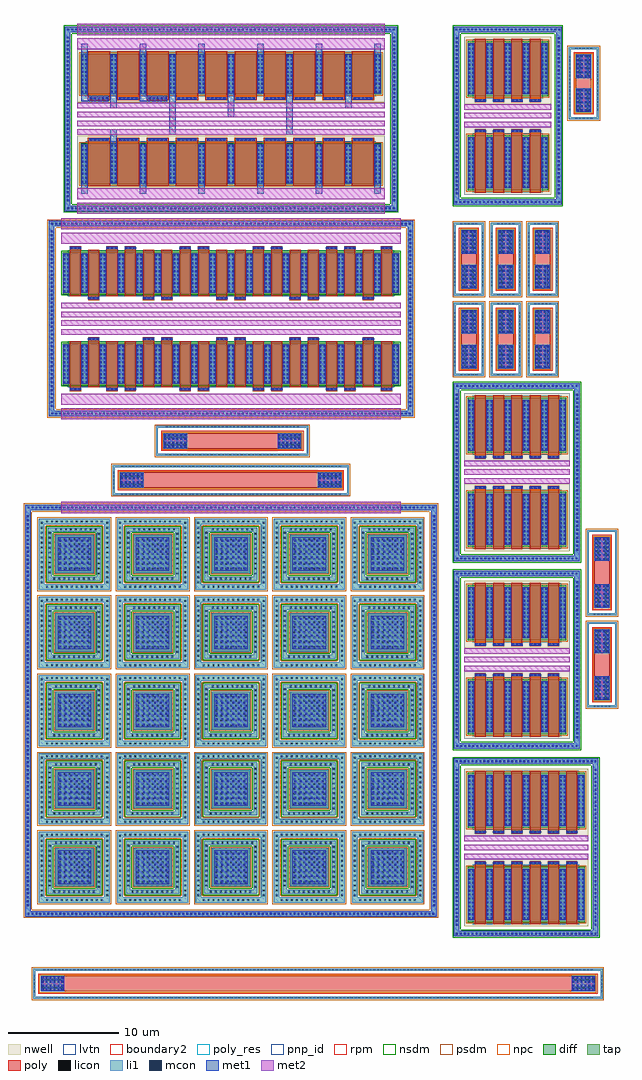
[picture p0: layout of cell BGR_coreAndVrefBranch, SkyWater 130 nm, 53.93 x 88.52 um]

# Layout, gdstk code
from math import pi, radians
import gdstk
lib = gdstk.Library(unit=1e-6, precision=5e-09)
def R(c, l, rs):  # rectangles x0, y0, x1, y1
    for r in rs: c.add(gdstk.rectangle(r[:2], r[2:], *l))
def A(c, l, x, y, w, h, nx, ny, dx, dy):  # array of equal rectangles
    R(c, l, [(x+i*dx, y+j*dy, x+i*dx+w, y+j*dy+h) for i in range(nx) for j in range(ny)])
def P(c, l, *ps):  # polygons
    for p in ps: c.add(gdstk.Polygon(p, *l))
nwell = (64, 20)
diff = (65, 20)
tap = (65, 44)
poly_res = (66, 13)
poly = (66, 20)
licon = (66, 44)
li1 = (67, 20)
mcon = (67, 44)
met1 = (68, 20)
met2 = (69, 20)
pnp_id = (82, 44)
rpm = (86, 20)
nsdm = (93, 44)
psdm = (94, 20)
npc = (95, 20)
lvtn = (125, 44)
boundary2 = (236, 0)

guard_ring_gen_12 = lib.new_cell('guard_ring_gen$12')
P(guard_ring_gen_12, tap, [(-0.5,-0.5),(-0.5,36.35),(0,36.35),(0,0),(36.35,0),(36.35,36.35),(-0.5,36.35),(-0.5,36.85),(36.85,36.85),(36.85,-0.5)])
A(guard_ring_gen_12, licon, -0.27, -0.335, 0.17, 0.17, 103, 2, 0.36, 36.85)
A(guard_ring_gen_12, licon, -0.335, 0.45, 0.17, 0.17, 1, 99, 0, 0.36)
A(guard_ring_gen_12, licon, 36.515, 0.45, 0.17, 0.17, 1, 99, 0, 0.36)
P(guard_ring_gen_12, li1, [(-0.5,-0.5),(-0.5,36.35),(0,36.35),(0,0),(36.35,0),(36.35,36.35),(-0.5,36.35),(-0.5,36.85),(36.85,36.85),(36.85,-0.5)])
A(guard_ring_gen_12, mcon, -0.27, -0.335, 0.17, 0.17, 103, 2, 0.36, 36.85)
A(guard_ring_gen_12, mcon, -0.335, 0.45, 0.17, 0.17, 1, 99, 0, 0.36)
A(guard_ring_gen_12, mcon, 36.515, 0.45, 0.17, 0.17, 1, 99, 0, 0.36)
P(guard_ring_gen_12, met1, [(-0.5,-0.5),(-0.5,36.35),(0,36.35),(0,0),(36.35,0),(36.35,36.35),(-0.5,36.35),(-0.5,36.85),(36.85,36.85),(36.85,-0.5)])
P(guard_ring_gen_12, psdm, [(-0.625,-0.625),(-0.625,36.225),(0.125,36.225),(0.125,0.125),(36.225,0.125),(36.225,36.225),(-0.625,36.225),(-0.625,36.975),(36.975,36.975),(36.975,-0.625)])

pfet = lib.new_cell('pfet')
R(pfet, nwell, [(-0.305,-0.38,2.625,5.72)])
R(pfet, diff, [(0,0,2.32,5)])
R(pfet, poly, [(0.66,-0.2,1.66,5.2), (0.66,5.2,1.66,5.53)])
A(pfet, licon, 0.065, 0.255, 0.17, 0.17, 1, 13, 0, 0.36)
A(pfet, licon, 0.425, 0.255, 0.17, 0.17, 1, 13, 0, 0.36)
A(pfet, licon, 1.725, 0.255, 0.17, 0.17, 1, 13, 0, 0.36)
A(pfet, licon, 2.085, 0.255, 0.17, 0.17, 1, 13, 0, 0.36)
A(pfet, licon, 0.715, 5.28, 0.17, 0.17, 3, 1, 0.36, 0)
R(pfet, li1, [(0.065,0.175,0.595,4.825), (1.725,0.175,2.255,4.825), (0.635,5.28,1.685,5.45)])
A(pfet, mcon, 0.065, 0.255, 0.17, 0.17, 1, 13, 0, 0.36)
A(pfet, mcon, 0.425, 0.255, 0.17, 0.17, 1, 13, 0, 0.36)
A(pfet, mcon, 1.725, 0.255, 0.17, 0.17, 1, 13, 0, 0.36)
A(pfet, mcon, 2.085, 0.255, 0.17, 0.17, 1, 13, 0, 0.36)
A(pfet, mcon, 0.715, 5.28, 0.17, 0.17, 3, 1, 0.36, 0)
R(pfet, met1, [(0.035,0.195,0.625,4.805), (1.695,0.195,2.285,4.805), (0.655,5.25,1.665,5.48)])
R(pfet, psdm, [(-0.125,-0.125,2.445,5.125)])
R(pfet, npc, [(0.65,5.19,1.67,5.54)])
R(pfet, lvtn, [(0.48,-0.18,1.84,5.18)])

res_poly_4 = lib.new_cell('res_poly$4')
R(res_poly_4, tap, [(-1.355,-25.81,1.355,-25.64), (-1.355,-25.64,-1.185,25.64), (1.185,-25.64,1.355,25.64), (-1.355,25.64,1.355,25.81)])
R(res_poly_4, poly_res, [(-0.705,-23.06,0.705,23.06)])
R(res_poly_4, poly, [(-0.705,-25.16,0.705,25.16)])
A(res_poly_4, licon, -0.765, -25.81, 0.17, 0.17, 5, 2, 0.34, 51.45)
A(res_poly_4, licon, -1.355, -24.905, 0.17, 0.17, 1, 147, 0, 0.34)
A(res_poly_4, licon, 1.185, -24.905, 0.17, 0.17, 1, 147, 0, 0.34)
R(res_poly_4, licon, [(-0.45,-25.08,-0.26,-23.08), (0.26,-25.08,0.45,-23.08), (-0.45,23.08,-0.26,25.08), (0.26,23.08,0.45,25.08)])
R(res_poly_4, li1, [(-1.355,-25.81,1.355,-25.64), (-1.355,-25.64,-1.185,25.64), (1.185,-25.64,1.355,25.64), (-0.705,-25.16,0.705,-23), (-0.705,23,0.705,25.16), (-1.355,25.64,1.355,25.81)])
A(res_poly_4, mcon, -0.625, -25.06, 0.17, 0.17, 4, 6, 0.36, 0.36)
A(res_poly_4, mcon, -0.625, 23.095, 0.17, 0.17, 4, 6, 0.36, 0.36)
R(res_poly_4, met1, [(-0.655,-25.13,0.655,-23.025), (-0.655,23.025,0.655,25.13)])
R(res_poly_4, rpm, [(-0.905,-25.36,0.905,25.36)])
R(res_poly_4, psdm, [(-1.48,-25.935,1.48,25.935)])
R(res_poly_4, npc, [(-0.8,-25.255,0.8,25.255)])

res_poly_13 = lib.new_cell('res_poly$13')
R(res_poly_13, tap, [(-1.355,-10.71,1.355,-10.54), (-1.355,-10.54,-1.185,10.54), (1.185,-10.54,1.355,10.54), (-1.355,10.54,1.355,10.71)])
R(res_poly_13, poly_res, [(-0.705,-7.96,0.705,7.96)])
R(res_poly_13, poly, [(-0.705,-10.06,0.705,10.06)])
A(res_poly_13, licon, -0.765, -10.71, 0.17, 0.17, 5, 2, 0.34, 21.25)
A(res_poly_13, licon, -1.355, -9.945, 0.17, 0.17, 1, 59, 0, 0.34)
A(res_poly_13, licon, 1.185, -9.945, 0.17, 0.17, 1, 59, 0, 0.34)
R(res_poly_13, licon, [(-0.45,-9.98,-0.26,-7.98), (0.26,-9.98,0.45,-7.98), (-0.45,7.98,-0.26,9.98), (0.26,7.98,0.45,9.98)])
R(res_poly_13, li1, [(-1.355,-10.71,1.355,-10.54), (-1.355,-10.54,-1.185,10.54), (1.185,-10.54,1.355,10.54), (-0.705,-10.06,0.705,-7.9), (-0.705,7.9,0.705,10.06), (-1.355,10.54,1.355,10.71)])
A(res_poly_13, mcon, -0.625, -9.96, 0.17, 0.17, 4, 6, 0.36, 0.36)
A(res_poly_13, mcon, -0.625, 7.995, 0.17, 0.17, 4, 6, 0.36, 0.36)
R(res_poly_13, met1, [(-0.655,-10.03,0.655,-7.925), (-0.655,7.925,0.655,10.03)])
R(res_poly_13, rpm, [(-0.905,-10.26,0.905,10.26)])
R(res_poly_13, psdm, [(-1.48,-10.835,1.48,10.835)])
R(res_poly_13, npc, [(-0.8,-10.155,0.8,10.155)])

pnp_bjt = lib.new_cell('pnp_bjt')
R(pnp_bjt, nwell, [(0.765,0.765,5.935,5.935)])
R(pnp_bjt, diff, [(1.65,1.65,5.05,5.05)])
P(pnp_bjt, tap, [(0.945,0.945),(0.945,5.755),(5.395,5.755),(5.395,5.395),(1.305,5.395),(1.305,1.305),(5.395,1.305),(5.395,5.755),(5.755,5.755),(5.755,0.945)],
  [(0.13,0.13),(0.13,6.57),(6.065,6.57),(6.065,6.065),(0.635,6.065),(0.635,0.635),(6.065,0.635),(6.065,6.57),(6.57,6.57),(6.57,0.13)])
A(pnp_bjt, licon, 0.78, 0.29, 0.17, 0.17, 12, 2, 0.45, 5.935)
A(pnp_bjt, licon, 0.3, 0.71, 0.17, 0.17, 1, 13, 0, 0.45)
A(pnp_bjt, licon, 6.235, 0.71, 0.17, 0.17, 1, 13, 0, 0.45)
A(pnp_bjt, licon, 1.43, 1.04, 0.17, 0.17, 9, 1, 0.45, 0)
A(pnp_bjt, licon, 5.49, 1.51, 0.17, 0.17, 1, 9, 0, 0.45)
A(pnp_bjt, licon, 1.04, 1.605, 0.17, 0.17, 1, 9, 0, 0.45)
A(pnp_bjt, licon, 1.92, 1.92, 0.17, 0.17, 7, 7, 0.45, 0.45)
A(pnp_bjt, licon, 1.6, 5.49, 0.17, 0.17, 9, 1, 0.45, 0)
A(pnp_bjt, li1, 0.58, 0.21, 0.33, 0.33, 12, 1, 0.45, 0)
A(pnp_bjt, li1, 0.675, 0.24, 0.27, 0.27, 11, 2, 0.5, 5.96)
A(pnp_bjt, li1, 6.16, 0.54, 0.33, 0.33, 1, 13, 0, 0.45)
A(pnp_bjt, li1, 0.22, 0.63, 0.33, 0.33, 1, 13, 0, 0.45)
A(pnp_bjt, li1, 1.35, 0.96, 0.33, 0.33, 9, 1, 0.45, 0)
A(pnp_bjt, li1, 1.14, 0.985, 0.27, 0.27, 9, 1, 0.5, 0)
A(pnp_bjt, li1, 5.41, 1.43, 0.33, 0.33, 1, 9, 0, 0.45)
A(pnp_bjt, li1, 0.96, 1.525, 0.33, 0.33, 1, 9, 0, 0.45)
A(pnp_bjt, li1, 1.84, 1.84, 0.33, 0.33, 7, 7, 0.45, 0.45)
A(pnp_bjt, li1, 1.93, 1.93, 0.27, 0.27, 6, 6, 0.5, 0.5)
A(pnp_bjt, li1, 1.52, 5.41, 0.33, 0.33, 9, 1, 0.45, 0)
A(pnp_bjt, li1, 1.155, 5.44, 0.27, 0.27, 9, 1, 0.5, 0)
A(pnp_bjt, li1, 0.7, 6.165, 0.33, 0.33, 12, 1, 0.45, 0)
R(pnp_bjt, li1, [(1.615,1.615,5.085,5.085), (1.65,1.65,5.05,5.05)])
P(pnp_bjt, li1, [(0.13,0.13),(0.13,6.57),(6.075,6.57),(6.075,6.075),(0.625,6.075),(0.625,0.625),(6.075,0.625),(6.075,6.57),(6.57,6.57),(6.57,0.13)],
  [(0.945,0.945),(0.945,5.755),(5.395,5.755),(5.395,5.395),(1.305,5.395),(1.305,1.305),(5.395,1.305),(5.395,5.755),(5.755,5.755),(5.755,0.945)])
A(pnp_bjt, mcon, 1.98, 1.98, 0.17, 0.17, 6, 6, 0.5, 0.5)
A(pnp_bjt, met1, 1.93, 1.93, 0.27, 0.27, 6, 6, 0.5, 0.5)
R(pnp_bjt, met1, [(1.825,1.825,4.875,4.875)])
R(pnp_bjt, pnp_id, [(0.135,0.135,6.565,6.565)])
P(pnp_bjt, nsdm, [(0.805,0.805),(0.805,5.895),(5.265,5.895),(5.265,5.265),(1.435,5.265),(1.435,1.435),(5.265,1.435),(5.265,5.895),(5.895,5.895),(5.895,0.805)])
R(pnp_bjt, psdm, [(1.52,1.52,5.18,5.18)])
P(pnp_bjt, psdm, [(0,0),(0,6.7),(5.935,6.7),(5.935,5.935),(0.765,5.935),(0.765,0.765),(5.935,0.765),(5.935,6.7),(6.7,6.7),(6.7,0)])
R(pnp_bjt, boundary2, [(0.13,0.13,6.57,6.57)])
pnp_bjt.add(gdstk.Label('Emitter', (3.39,3.39), layer=67, texttype=5))
pnp_bjt.add(gdstk.Label('Collector', (3.32,6.38), layer=67, texttype=5))
pnp_bjt.add(gdstk.Label('Base', (3.245,5.61), layer=67, texttype=5))

guard_ring_gen_5 = lib.new_cell('guard_ring_gen$5')
P(guard_ring_gen_5, tap, [(-0.5,-0.5),(-0.5,15.145),(0,15.145),(0,0),(10.42,0),(10.42,15.145),(-0.5,15.145),(-0.5,15.645),(10.92,15.645),(10.92,-0.5)])
A(guard_ring_gen_5, licon, -0.275, -0.335, 0.17, 0.17, 31, 2, 0.36, 15.645)
A(guard_ring_gen_5, licon, -0.335, 0.47, 0.17, 0.17, 1, 40, 0, 0.36)
A(guard_ring_gen_5, licon, 10.585, 0.47, 0.17, 0.17, 1, 40, 0, 0.36)
P(guard_ring_gen_5, li1, [(-0.5,-0.5),(-0.5,15.145),(0,15.145),(0,0),(10.42,0),(10.42,15.145),(-0.5,15.145),(-0.5,15.645),(10.92,15.645),(10.92,-0.5)])
A(guard_ring_gen_5, mcon, -0.275, -0.335, 0.17, 0.17, 31, 2, 0.36, 15.645)
A(guard_ring_gen_5, mcon, -0.335, 0.47, 0.17, 0.17, 1, 40, 0, 0.36)
A(guard_ring_gen_5, mcon, 10.585, 0.47, 0.17, 0.17, 1, 40, 0, 0.36)
P(guard_ring_gen_5, met1, [(-0.5,-0.5),(-0.5,15.145),(0,15.145),(0,0),(10.42,0),(10.42,15.145),(-0.5,15.145),(-0.5,15.645),(10.92,15.645),(10.92,-0.5)])
P(guard_ring_gen_5, nsdm, [(-0.625,-0.625),(-0.625,15.02),(0.125,15.02),(0.125,0.125),(10.295,0.125),(10.295,15.02),(-0.625,15.02),(-0.625,15.77),(11.045,15.77),(11.045,-0.625)])

guard_ring_gen = lib.new_cell('guard_ring_gen')
P(guard_ring_gen, tap, [(-0.5,-0.5),(-0.5,16.715),(0,16.715),(0,0),(32.04,0),(32.04,16.715),(-0.5,16.715),(-0.5,17.215),(32.54,17.215),(32.54,-0.5)])
A(guard_ring_gen, licon, -0.265, -0.335, 0.17, 0.17, 91, 2, 0.36, 17.215)
A(guard_ring_gen, licon, -0.335, 0.355, 0.17, 0.17, 1, 45, 0, 0.36)
A(guard_ring_gen, licon, 32.205, 0.355, 0.17, 0.17, 1, 45, 0, 0.36)
P(guard_ring_gen, li1, [(-0.5,-0.5),(-0.5,16.715),(0,16.715),(0,0),(32.04,0),(32.04,16.715),(-0.5,16.715),(-0.5,17.215),(32.54,17.215),(32.54,-0.5)])
A(guard_ring_gen, mcon, -0.265, -0.335, 0.17, 0.17, 91, 2, 0.36, 17.215)
A(guard_ring_gen, mcon, -0.335, 0.355, 0.17, 0.17, 1, 45, 0, 0.36)
A(guard_ring_gen, mcon, 32.205, 0.355, 0.17, 0.17, 1, 45, 0, 0.36)
P(guard_ring_gen, met1, [(-0.5,-0.5),(-0.5,16.715),(0,16.715),(0,0),(32.04,0),(32.04,16.715),(-0.5,16.715),(-0.5,17.215),(32.54,17.215),(32.54,-0.5)])
P(guard_ring_gen, psdm, [(-0.625,-0.625),(-0.625,16.59),(0.125,16.59),(0.125,0.125),(31.915,0.125),(31.915,16.59),(-0.625,16.59),(-0.625,17.34),(32.665,17.34),(32.665,-0.625)])

nfet_1 = lib.new_cell('nfet$1')
R(nfet_1, diff, [(0,0,2.32,3.8)])
R(nfet_1, poly, [(0.66,-0.2,1.66,4), (0.66,4,1.66,4.33)])
A(nfet_1, licon, 0.065, 0.195, 0.17, 0.17, 1, 10, 0, 0.36)
A(nfet_1, licon, 0.425, 0.195, 0.17, 0.17, 1, 10, 0, 0.36)
A(nfet_1, licon, 1.725, 0.195, 0.17, 0.17, 1, 10, 0, 0.36)
A(nfet_1, licon, 2.085, 0.195, 0.17, 0.17, 1, 10, 0, 0.36)
A(nfet_1, licon, 0.715, 4.08, 0.17, 0.17, 3, 1, 0.36, 0)
R(nfet_1, li1, [(0.065,0.115,0.595,3.685), (1.725,0.115,2.255,3.685), (0.635,4.08,1.685,4.25)])
A(nfet_1, mcon, 0.065, 0.195, 0.17, 0.17, 1, 10, 0, 0.36)
A(nfet_1, mcon, 0.425, 0.195, 0.17, 0.17, 1, 10, 0, 0.36)
A(nfet_1, mcon, 1.725, 0.195, 0.17, 0.17, 1, 10, 0, 0.36)
A(nfet_1, mcon, 2.085, 0.195, 0.17, 0.17, 1, 10, 0, 0.36)
A(nfet_1, mcon, 0.715, 4.08, 0.17, 0.17, 3, 1, 0.36, 0)
R(nfet_1, met1, [(0.035,0.135,0.625,3.665), (1.695,0.135,2.285,3.665), (0.655,4.05,1.665,4.28)])
R(nfet_1, nsdm, [(-0.125,-0.125,2.445,3.925)])
R(nfet_1, npc, [(0.65,3.99,1.67,4.34)])
R(nfet_1, lvtn, [(0.48,-0.18,1.84,3.98)])

nfet = lib.new_cell('nfet')
R(nfet, diff, [(0,0,2.32,3.8)])
R(nfet, poly, [(0.66,-0.53,1.66,-0.2), (0.66,-0.2,1.66,4)])
A(nfet, licon, 0.715, -0.45, 0.17, 0.17, 3, 1, 0.36, 0)
A(nfet, licon, 0.065, 0.195, 0.17, 0.17, 1, 10, 0, 0.36)
A(nfet, licon, 0.425, 0.195, 0.17, 0.17, 1, 10, 0, 0.36)
A(nfet, licon, 1.725, 0.195, 0.17, 0.17, 1, 10, 0, 0.36)
A(nfet, licon, 2.085, 0.195, 0.17, 0.17, 1, 10, 0, 0.36)
R(nfet, li1, [(0.635,-0.45,1.685,-0.28), (0.065,0.115,0.595,3.685), (1.725,0.115,2.255,3.685)])
A(nfet, mcon, 0.715, -0.45, 0.17, 0.17, 3, 1, 0.36, 0)
A(nfet, mcon, 0.065, 0.195, 0.17, 0.17, 1, 10, 0, 0.36)
A(nfet, mcon, 0.425, 0.195, 0.17, 0.17, 1, 10, 0, 0.36)
A(nfet, mcon, 1.725, 0.195, 0.17, 0.17, 1, 10, 0, 0.36)
A(nfet, mcon, 2.085, 0.195, 0.17, 0.17, 1, 10, 0, 0.36)
R(nfet, met1, [(0.655,-0.48,1.665,-0.25), (0.035,0.135,0.625,3.665), (1.695,0.135,2.285,3.665)])
R(nfet, nsdm, [(-0.125,-0.125,2.445,3.925)])
R(nfet, npc, [(0.65,-0.54,1.67,-0.19)])
R(nfet, lvtn, [(0.48,-0.18,1.84,3.98)])

guard_ring_gen_4 = lib.new_cell('guard_ring_gen$4')
P(guard_ring_gen_4, tap, [(-0.5,-0.5),(-0.5,15.715),(0,15.715),(0,0),(29.12,0),(29.12,15.715),(-0.5,15.715),(-0.5,16.215),(29.62,16.215),(29.62,-0.5)])
A(guard_ring_gen_4, licon, -0.285, -0.335, 0.17, 0.17, 83, 2, 0.36, 16.215)
A(guard_ring_gen_4, licon, -0.335, 0.395, 0.17, 0.17, 1, 42, 0, 0.36)
A(guard_ring_gen_4, licon, 29.285, 0.395, 0.17, 0.17, 1, 42, 0, 0.36)
P(guard_ring_gen_4, li1, [(-0.5,-0.5),(-0.5,15.715),(0,15.715),(0,0),(29.12,0),(29.12,15.715),(-0.5,15.715),(-0.5,16.215),(29.62,16.215),(29.62,-0.5)])
A(guard_ring_gen_4, mcon, -0.285, -0.335, 0.17, 0.17, 83, 2, 0.36, 16.215)
A(guard_ring_gen_4, mcon, -0.335, 0.395, 0.17, 0.17, 1, 42, 0, 0.36)
A(guard_ring_gen_4, mcon, 29.285, 0.395, 0.17, 0.17, 1, 42, 0, 0.36)
P(guard_ring_gen_4, met1, [(-0.5,-0.5),(-0.5,15.715),(0,15.715),(0,0),(29.12,0),(29.12,15.715),(-0.5,15.715),(-0.5,16.215),(29.62,16.215),(29.62,-0.5)])
P(guard_ring_gen_4, nsdm, [(-0.625,-0.625),(-0.625,15.59),(0.125,15.59),(0.125,0.125),(28.995,0.125),(28.995,15.59),(-0.625,15.59),(-0.625,16.34),(29.745,16.34),(29.745,-0.625)])

pfet_3 = lib.new_cell('pfet$3')
R(pfet_3, nwell, [(-0.305,-0.38,3.625,4.42)])
R(pfet_3, diff, [(0,0,3.32,3.7)])
R(pfet_3, poly, [(0.66,-0.2,2.66,3.9), (0.66,3.9,2.66,4.23)])
A(pfet_3, licon, 0.065, 0.145, 0.17, 0.17, 1, 10, 0, 0.36)
A(pfet_3, licon, 0.425, 0.145, 0.17, 0.17, 1, 10, 0, 0.36)
A(pfet_3, licon, 2.725, 0.145, 0.17, 0.17, 1, 10, 0, 0.36)
A(pfet_3, licon, 3.085, 0.145, 0.17, 0.17, 1, 10, 0, 0.36)
A(pfet_3, licon, 0.855, 3.98, 0.17, 0.17, 5, 1, 0.36, 0)
R(pfet_3, li1, [(0.065,0.065,0.595,3.635), (2.725,0.065,3.255,3.635), (0.775,3.98,2.545,4.15)])
A(pfet_3, mcon, 0.065, 0.145, 0.17, 0.17, 1, 10, 0, 0.36)
A(pfet_3, mcon, 0.425, 0.145, 0.17, 0.17, 1, 10, 0, 0.36)
A(pfet_3, mcon, 2.725, 0.145, 0.17, 0.17, 1, 10, 0, 0.36)
A(pfet_3, mcon, 3.085, 0.145, 0.17, 0.17, 1, 10, 0, 0.36)
A(pfet_3, mcon, 0.855, 3.98, 0.17, 0.17, 5, 1, 0.36, 0)
R(pfet_3, met1, [(0.035,0.085,0.625,3.615), (2.695,0.085,3.285,3.615), (0.795,3.95,2.525,4.18)])
R(pfet_3, psdm, [(-0.125,-0.125,3.445,3.825)])
R(pfet_3, npc, [(0.65,3.89,2.67,4.24)])
R(pfet_3, lvtn, [(0.48,-0.18,2.84,3.88)])

res_poly = lib.new_cell('res_poly')
R(res_poly, tap, [(-1.355,-3.27,1.355,-3.1), (-1.355,-3.1,-1.185,3.1), (1.185,-3.1,1.355,3.1), (-1.355,3.1,1.355,3.27)])
R(res_poly, poly_res, [(-0.705,-0.52,0.705,0.52)])
R(res_poly, poly, [(-0.705,-2.62,0.705,2.62)])
A(res_poly, licon, -0.765, -3.27, 0.17, 0.17, 5, 2, 0.34, 6.37)
A(res_poly, licon, -1.355, -2.465, 0.17, 0.17, 1, 15, 0, 0.34)
A(res_poly, licon, 1.185, -2.465, 0.17, 0.17, 1, 15, 0, 0.34)
R(res_poly, licon, [(-0.45,-2.54,-0.26,-0.54), (0.26,-2.54,0.45,-0.54), (-0.45,0.54,-0.26,2.54), (0.26,0.54,0.45,2.54)])
R(res_poly, li1, [(-1.355,-3.27,1.355,-3.1), (-1.355,-3.1,-1.185,3.1), (1.185,-3.1,1.355,3.1), (-0.705,-2.62,0.705,-0.46), (-0.705,0.46,0.705,2.62), (-1.355,3.1,1.355,3.27)])
A(res_poly, mcon, -0.625, -2.52, 0.17, 0.17, 4, 6, 0.36, 0.36)
A(res_poly, mcon, -0.625, 0.555, 0.17, 0.17, 4, 6, 0.36, 0.36)
R(res_poly, met1, [(-0.655,-2.59,0.655,-0.485), (-0.655,0.485,0.655,2.59)])
R(res_poly, rpm, [(-0.905,-2.82,0.905,2.82)])
R(res_poly, psdm, [(-1.48,-3.395,1.48,3.395)])
R(res_poly, npc, [(-0.8,-2.715,0.8,2.715)])

res_poly_1 = lib.new_cell('res_poly$1')
R(res_poly_1, tap, [(-1.355,-3.31,1.355,-3.14), (-1.355,-3.14,-1.185,3.14), (1.185,-3.14,1.355,3.14), (-1.355,3.14,1.355,3.31)])
R(res_poly_1, poly_res, [(-0.705,-0.56,0.705,0.56)])
R(res_poly_1, poly, [(-0.705,-2.66,0.705,2.66)])
A(res_poly_1, licon, -0.765, -3.31, 0.17, 0.17, 5, 2, 0.34, 6.45)
A(res_poly_1, licon, -1.355, -2.465, 0.17, 0.17, 1, 15, 0, 0.34)
A(res_poly_1, licon, 1.185, -2.465, 0.17, 0.17, 1, 15, 0, 0.34)
R(res_poly_1, licon, [(-0.45,-2.58,-0.26,-0.58), (0.26,-2.58,0.45,-0.58), (-0.45,0.58,-0.26,2.58), (0.26,0.58,0.45,2.58)])
R(res_poly_1, li1, [(-1.355,-3.31,1.355,-3.14), (-1.355,-3.14,-1.185,3.14), (1.185,-3.14,1.355,3.14), (-0.705,-2.66,0.705,-0.5), (-0.705,0.5,0.705,2.66), (-1.355,3.14,1.355,3.31)])
A(res_poly_1, mcon, -0.625, -2.56, 0.17, 0.17, 4, 6, 0.36, 0.36)
A(res_poly_1, mcon, -0.625, 0.595, 0.17, 0.17, 4, 6, 0.36, 0.36)
R(res_poly_1, met1, [(-0.655,-2.63,0.655,-0.525), (-0.655,0.525,0.655,2.63)])
R(res_poly_1, rpm, [(-0.905,-2.86,0.905,2.86)])
R(res_poly_1, psdm, [(-1.48,-3.435,1.48,3.435)])
R(res_poly_1, npc, [(-0.8,-2.755,0.8,2.755)])

guard_ring_gen_7 = lib.new_cell('guard_ring_gen$7')
P(guard_ring_gen_7, tap, [(-0.5,-0.5),(-0.5,15.145),(0,15.145),(0,0),(8.76,0),(8.76,15.145),(-0.5,15.145),(-0.5,15.645),(9.26,15.645),(9.26,-0.5)])
A(guard_ring_gen_7, licon, -0.385, -0.335, 0.17, 0.17, 27, 2, 0.36, 15.645)
A(guard_ring_gen_7, licon, -0.335, 0.47, 0.17, 0.17, 1, 40, 0, 0.36)
A(guard_ring_gen_7, licon, 8.925, 0.47, 0.17, 0.17, 1, 40, 0, 0.36)
P(guard_ring_gen_7, li1, [(-0.5,-0.5),(-0.5,15.145),(0,15.145),(0,0),(8.76,0),(8.76,15.145),(-0.5,15.145),(-0.5,15.645),(9.26,15.645),(9.26,-0.5)])
A(guard_ring_gen_7, mcon, -0.385, -0.335, 0.17, 0.17, 27, 2, 0.36, 15.645)
A(guard_ring_gen_7, mcon, -0.335, 0.47, 0.17, 0.17, 1, 40, 0, 0.36)
A(guard_ring_gen_7, mcon, 8.925, 0.47, 0.17, 0.17, 1, 40, 0, 0.36)
P(guard_ring_gen_7, met1, [(-0.5,-0.5),(-0.5,15.145),(0,15.145),(0,0),(8.76,0),(8.76,15.145),(-0.5,15.145),(-0.5,15.645),(9.26,15.645),(9.26,-0.5)])
P(guard_ring_gen_7, nsdm, [(-0.625,-0.625),(-0.625,15.02),(0.125,15.02),(0.125,0.125),(8.635,0.125),(8.635,15.02),(-0.625,15.02),(-0.625,15.77),(9.385,15.77),(9.385,-0.625)])

res_poly_12 = lib.new_cell('res_poly$12')
R(res_poly_12, tap, [(-1.355,-6.91,1.355,-6.74), (-1.355,-6.74,-1.185,6.74), (1.185,-6.74,1.355,6.74), (-1.355,6.74,1.355,6.91)])
R(res_poly_12, poly_res, [(-0.705,-4.16,0.705,4.16)])
R(res_poly_12, poly, [(-0.705,-6.26,0.705,6.26)])
A(res_poly_12, licon, -0.765, -6.91, 0.17, 0.17, 5, 2, 0.34, 13.65)
A(res_poly_12, licon, -1.355, -6.035, 0.17, 0.17, 1, 36, 0, 0.34)
A(res_poly_12, licon, 1.185, -6.035, 0.17, 0.17, 1, 36, 0, 0.34)
R(res_poly_12, licon, [(-0.45,-6.18,-0.26,-4.18), (0.26,-6.18,0.45,-4.18), (-0.45,4.18,-0.26,6.18), (0.26,4.18,0.45,6.18)])
R(res_poly_12, li1, [(-1.355,-6.91,1.355,-6.74), (-1.355,-6.74,-1.185,6.74), (1.185,-6.74,1.355,6.74), (-0.705,-6.26,0.705,-4.1), (-0.705,4.1,0.705,6.26), (-1.355,6.74,1.355,6.91)])
A(res_poly_12, mcon, -0.625, -6.16, 0.17, 0.17, 4, 6, 0.36, 0.36)
A(res_poly_12, mcon, -0.625, 4.195, 0.17, 0.17, 4, 6, 0.36, 0.36)
R(res_poly_12, met1, [(-0.655,-6.23,0.655,-4.125), (-0.655,4.125,0.655,6.23)])
R(res_poly_12, rpm, [(-0.905,-6.46,0.905,6.46)])
R(res_poly_12, psdm, [(-1.48,-7.035,1.48,7.035)])
R(res_poly_12, npc, [(-0.8,-6.355,0.8,6.355)])

res_poly_2 = lib.new_cell('res_poly$2')
R(res_poly_2, tap, [(-1.355,-3.86,1.355,-3.69), (-1.355,-3.69,-1.185,3.69), (1.185,-3.69,1.355,3.69), (-1.355,3.69,1.355,3.86)])
R(res_poly_2, poly_res, [(-0.705,-1.11,0.705,1.11)])
R(res_poly_2, poly, [(-0.705,-3.21,0.705,3.21)])
A(res_poly_2, licon, -0.765, -3.86, 0.17, 0.17, 5, 2, 0.34, 7.55)
A(res_poly_2, licon, -1.355, -2.975, 0.17, 0.17, 1, 18, 0, 0.34)
A(res_poly_2, licon, 1.185, -2.975, 0.17, 0.17, 1, 18, 0, 0.34)
R(res_poly_2, licon, [(-0.45,-3.13,-0.26,-1.13), (0.26,-3.13,0.45,-1.13), (-0.45,1.13,-0.26,3.13), (0.26,1.13,0.45,3.13)])
R(res_poly_2, li1, [(-1.355,-3.86,1.355,-3.69), (-1.355,-3.69,-1.185,3.69), (1.185,-3.69,1.355,3.69), (-0.705,-3.21,0.705,-1.05), (-0.705,1.05,0.705,3.21), (-1.355,3.69,1.355,3.86)])
A(res_poly_2, mcon, -0.625, -3.11, 0.17, 0.17, 4, 6, 0.36, 0.36)
A(res_poly_2, mcon, -0.625, 1.145, 0.17, 0.17, 4, 6, 0.36, 0.36)
R(res_poly_2, met1, [(-0.655,-3.18,0.655,-1.075), (-0.655,1.075,0.655,3.18)])
R(res_poly_2, rpm, [(-0.905,-3.41,0.905,3.41)])
R(res_poly_2, psdm, [(-1.48,-3.985,1.48,3.985)])
R(res_poly_2, npc, [(-0.8,-3.305,0.8,3.305)])

guard_ring_gen_6 = lib.new_cell('guard_ring_gen$6')
P(guard_ring_gen_6, tap, [(-0.5,-0.5),(-0.5,15.145),(0,15.145),(0,0),(12.08,0),(12.08,15.145),(-0.5,15.145),(-0.5,15.645),(12.58,15.645),(12.58,-0.5)])
A(guard_ring_gen_6, licon, -0.345, -0.335, 0.17, 0.17, 36, 2, 0.36, 15.645)
A(guard_ring_gen_6, licon, -0.335, 0.47, 0.17, 0.17, 1, 40, 0, 0.36)
A(guard_ring_gen_6, licon, 12.245, 0.47, 0.17, 0.17, 1, 40, 0, 0.36)
P(guard_ring_gen_6, li1, [(-0.5,-0.5),(-0.5,15.145),(0,15.145),(0,0),(12.08,0),(12.08,15.145),(-0.5,15.145),(-0.5,15.645),(12.58,15.645),(12.58,-0.5)])
A(guard_ring_gen_6, mcon, -0.345, -0.335, 0.17, 0.17, 36, 2, 0.36, 15.645)
A(guard_ring_gen_6, mcon, -0.335, 0.47, 0.17, 0.17, 1, 40, 0, 0.36)
A(guard_ring_gen_6, mcon, 12.245, 0.47, 0.17, 0.17, 1, 40, 0, 0.36)
P(guard_ring_gen_6, met1, [(-0.5,-0.5),(-0.5,15.145),(0,15.145),(0,0),(12.08,0),(12.08,15.145),(-0.5,15.145),(-0.5,15.645),(12.58,15.645),(12.58,-0.5)])
P(guard_ring_gen_6, nsdm, [(-0.625,-0.625),(-0.625,15.02),(0.125,15.02),(0.125,0.125),(11.955,0.125),(11.955,15.02),(-0.625,15.02),(-0.625,15.77),(12.705,15.77),(12.705,-0.625)])

bgr_coreandvrefbranch = lib.new_cell('BGR_coreAndVrefBranch')
R(bgr_coreandvrefbranch, lvtn, [(103.505,116.72,113.165,122.08), (106.825,116.72,113.165,122.08), (103.505,125.255,113.165,130.615), (103.505,133.745,111.505,139.105), (105.165,133.745,111.505,139.105), (103.505,142.28,111.505,147.64), (103.505,150.75,111.505,156.11), (105.165,150.75,111.505,156.11), (103.505,159.285,111.505,164.645), (66.78,165.42,96.36,169.58), (66.78,173.675,96.36,177.835), (103.505,183.08,109.845,188.44), (68.42,183.635,94.72,187.695), (103.505,191.615,109.845,196.975), (68.42,191.79,94.72,195.85)])
bgr_coreandvrefbranch.add(gdstk.FlexPath([(94.87,192.055),(94.87,196.55)], 0.59, ends="flush", simple_path=True, layer=68, datatype=20))  # met1
bgr_coreandvrefbranch.add(gdstk.FlexPath([(89.55,192.055),(89.55,196.55)], 0.59, ends="flush", simple_path=True, layer=68, datatype=20))  # met1
bgr_coreandvrefbranch.add(gdstk.FlexPath([(84.23,192.055),(84.23,196.55)], 0.59, ends="flush", simple_path=True, layer=68, datatype=20))  # met1
bgr_coreandvrefbranch.add(gdstk.FlexPath([(78.91,192.055),(78.91,196.55)], 0.59, ends="flush", simple_path=True, layer=68, datatype=20))  # met1
bgr_coreandvrefbranch.add(gdstk.FlexPath([(73.59,191.355),(73.59,196.55)], 0.59, ends="flush", simple_path=True, layer=68, datatype=20))  # met1
bgr_coreandvrefbranch.add(gdstk.FlexPath([(68.27,191.355),(68.27,196.55)], 0.59, ends="flush", simple_path=True, layer=68, datatype=20))  # met1
bgr_coreandvrefbranch.add(gdstk.FlexPath([(70.465,191.605),(67.975,191.605)], 0.5, ends="flush", simple_path=True, layer=68, datatype=20))  # met1
bgr_coreandvrefbranch.add(gdstk.FlexPath([(75.785,191.605),(73.295,191.605)], 0.5, ends="flush", simple_path=True, layer=68, datatype=20))  # met1
bgr_coreandvrefbranch.add(gdstk.FlexPath([(76.25,195.585),(76.25,188.295)], 0.59, ends="flush", simple_path=True, layer=68, datatype=20))  # met1
bgr_coreandvrefbranch.add(gdstk.FlexPath([(81.57,195.585),(81.57,189.895)], 0.59, ends="flush", simple_path=True, layer=68, datatype=20))  # met1
bgr_coreandvrefbranch.add(gdstk.FlexPath([(86.89,195.585),(86.89,188.295)], 0.59, ends="flush", simple_path=True, layer=68, datatype=20))  # met1
bgr_coreandvrefbranch.add(gdstk.FlexPath([(70.93,195.585),(70.93,190.695)], 0.59, ends="flush", simple_path=True, layer=68, datatype=20))  # met1
bgr_coreandvrefbranch.add(gdstk.FlexPath([(92.21,195.585),(92.21,190.695)], 0.59, ends="flush", simple_path=True, layer=68, datatype=20))  # met1
bgr_coreandvrefbranch.add(gdstk.FlexPath([(68.27,187.43),(68.27,182.935)], 0.59, ends="flush", simple_path=True, layer=68, datatype=20))  # met1
bgr_coreandvrefbranch.add(gdstk.FlexPath([(73.59,187.43),(73.59,182.935)], 0.59, ends="flush", simple_path=True, layer=68, datatype=20))  # met1
bgr_coreandvrefbranch.add(gdstk.FlexPath([(78.91,187.43),(78.91,182.935)], 0.59, ends="flush", simple_path=True, layer=68, datatype=20))  # met1
bgr_coreandvrefbranch.add(gdstk.FlexPath([(84.23,187.43),(84.23,182.935)], 0.59, ends="flush", simple_path=True, layer=68, datatype=20))  # met1
bgr_coreandvrefbranch.add(gdstk.FlexPath([(89.55,187.43),(89.55,182.935)], 0.59, ends="flush", simple_path=True, layer=68, datatype=20))  # met1
bgr_coreandvrefbranch.add(gdstk.FlexPath([(94.87,187.43),(94.87,182.935)], 0.59, ends="flush", simple_path=True, layer=68, datatype=20))  # met1
bgr_coreandvrefbranch.add(gdstk.FlexPath([(70.93,183.9),(70.93,188.795)], 0.59, ends="flush", simple_path=True, layer=68, datatype=20))  # met1
bgr_coreandvrefbranch.add(gdstk.FlexPath([(95.505,197.85),(67.635,197.85)], 1, ends="flush", simple_path=True, layer=69, datatype=20))  # met2
bgr_coreandvrefbranch.add(gdstk.FlexPath([(95.505,196.55),(67.635,196.55)], 1, ends="flush", simple_path=True, layer=69, datatype=20))  # met2
bgr_coreandvrefbranch.add(gdstk.FlexPath([(95.505,181.635),(67.635,181.635)], 1, ends="flush", simple_path=True, layer=69, datatype=20))  # met2
bgr_coreandvrefbranch.add(gdstk.FlexPath([(95.505,188.545),(67.635,188.545)], 0.5, ends="flush", simple_path=True, layer=69, datatype=20))  # met2
bgr_coreandvrefbranch.add(gdstk.FlexPath([(95.505,182.935),(67.635,182.935)], 1, ends="flush", simple_path=True, layer=69, datatype=20))  # met2
bgr_coreandvrefbranch.add(gdstk.FlexPath([(95.505,190.145),(67.635,190.145)], 0.5, ends="flush", simple_path=True, layer=69, datatype=20))  # met2
bgr_coreandvrefbranch.add(gdstk.FlexPath([(95.505,190.945),(67.635,190.945)], 0.5, ends="flush", simple_path=True, layer=69, datatype=20))  # met2
bgr_coreandvrefbranch.add(gdstk.FlexPath([(96.965,163.02),(66.175,163.02)], 1, ends="flush", simple_path=True, layer=69, datatype=20))  # met2
bgr_coreandvrefbranch.add(gdstk.FlexPath([(96.955,180.235),(66.175,180.235)], 1, ends="flush", simple_path=True, layer=69, datatype=20))  # met2
bgr_coreandvrefbranch.add(gdstk.FlexPath([(96.965,164.32),(66.175,164.32)], 1, ends="flush", simple_path=True, layer=69, datatype=20))  # met2
bgr_coreandvrefbranch.add(gdstk.FlexPath([(96.975,170.43),(66.165,170.43)], 0.5, ends="flush", simple_path=True, layer=69, datatype=20))  # met2
bgr_coreandvrefbranch.add(gdstk.FlexPath([(96.965,171.225),(66.165,171.225)], 0.5, ends="flush", simple_path=True, layer=69, datatype=20))  # met2
bgr_coreandvrefbranch.add(gdstk.FlexPath([(96.965,172.025),(66.165,172.025)], 0.5, ends="flush", simple_path=True, layer=69, datatype=20))  # met2
bgr_coreandvrefbranch.add(gdstk.FlexPath([(96.965,172.825),(66.175,172.825)], 0.5, ends="flush", simple_path=True, layer=69, datatype=20))  # met2
bgr_coreandvrefbranch.add(gdstk.FlexPath([(96.955,178.935),(66.175,178.935)], 1, ends="flush", simple_path=True, layer=69, datatype=20))  # met2
bgr_coreandvrefbranch.add(gdstk.FlexPath([(95.505,189.345),(67.635,189.345)], 0.5, ends="flush", simple_path=True, layer=69, datatype=20))  # met2
bgr_coreandvrefbranch.add(gdstk.FlexPath([(102.72,190.825),(110.63,190.825)], 0.5, ends="flush", simple_path=True, layer=69, datatype=20))  # met2
bgr_coreandvrefbranch.add(gdstk.FlexPath([(102.72,190.03),(110.63,190.03)], 0.5, ends="flush", simple_path=True, layer=69, datatype=20))  # met2
bgr_coreandvrefbranch.add(gdstk.FlexPath([(102.72,189.23),(110.63,189.23)], 0.5, ends="flush", simple_path=True, layer=69, datatype=20))  # met2
bgr_coreandvrefbranch.add(gdstk.FlexPath([(102.72,124.465),(113.95,124.465)], 0.5, ends="flush", simple_path=True, layer=69, datatype=20))  # met2
bgr_coreandvrefbranch.add(gdstk.FlexPath([(102.72,123.67),(113.95,123.67)], 0.5, ends="flush", simple_path=True, layer=69, datatype=20))  # met2
bgr_coreandvrefbranch.add(gdstk.FlexPath([(102.72,122.87),(113.95,122.87)], 0.5, ends="flush", simple_path=True, layer=69, datatype=20))  # met2
bgr_coreandvrefbranch.add(gdstk.FlexPath([(102.72,158.495),(112.29,158.495)], 0.5, ends="flush", simple_path=True, layer=69, datatype=20))  # met2
bgr_coreandvrefbranch.add(gdstk.FlexPath([(102.72,157.7),(112.29,157.7)], 0.5, ends="flush", simple_path=True, layer=69, datatype=20))  # met2
bgr_coreandvrefbranch.add(gdstk.FlexPath([(102.72,156.9),(112.29,156.9)], 0.5, ends="flush", simple_path=True, layer=69, datatype=20))  # met2
bgr_coreandvrefbranch.add(gdstk.FlexPath([(102.72,141.49),(112.29,141.49)], 0.5, ends="flush", simple_path=True, layer=69, datatype=20))  # met2
bgr_coreandvrefbranch.add(gdstk.FlexPath([(102.72,140.695),(112.29,140.695)], 0.5, ends="flush", simple_path=True, layer=69, datatype=20))  # met2
bgr_coreandvrefbranch.add(gdstk.FlexPath([(102.72,139.895),(112.29,139.895)], 0.5, ends="flush", simple_path=True, layer=69, datatype=20))  # met2
bgr_coreandvrefbranch.add(gdstk.FlexPath([(96.965,154.5),(66.175,154.5)], 1, ends="flush", simple_path=True, layer=69, datatype=20))  # met2
bgr_coreandvrefbranch.add(gdstk.Reference(guard_ring_gen_12, (63.395,117.9)))
bgr_coreandvrefbranch.add(gdstk.Reference(pfet, (111.985,150.93), rotation=pi, x_reflection=True))
bgr_coreandvrefbranch.add(gdstk.Reference(pfet, (107.005,150.93), rotation=pi, x_reflection=True))
bgr_coreandvrefbranch.add(gdstk.Reference(pfet, (105.345,150.93), rotation=pi, x_reflection=True))
bgr_coreandvrefbranch.add(gdstk.Reference(pfet, (110.325,150.93), rotation=pi, x_reflection=True))
bgr_coreandvrefbranch.add(gdstk.Reference(pfet, (108.665,150.93), rotation=pi, x_reflection=True))
bgr_coreandvrefbranch.add(gdstk.Reference(res_poly_4, (89.46,111.315), rotation=3*pi/2))
bgr_coreandvrefbranch.add(gdstk.Reference(res_poly_13, (81.56,156.98), rotation=pi/2))
bgr_coreandvrefbranch.add(gdstk.Reference(pnp_bjt, (85.32,146.925)))
bgr_coreandvrefbranch.add(gdstk.Reference(pnp_bjt, (85.32,132.725)))
bgr_coreandvrefbranch.add(gdstk.Reference(pnp_bjt, (85.32,125.625)))
bgr_coreandvrefbranch.add(gdstk.Reference(pnp_bjt, (85.32,139.825)))
bgr_coreandvrefbranch.add(gdstk.Reference(pnp_bjt, (85.32,118.525)))
bgr_coreandvrefbranch.add(gdstk.Reference(guard_ring_gen_5, (102.295,150.125)))
bgr_coreandvrefbranch.add(gdstk.Reference(guard_ring_gen, (65.55,163.27)))
bgr_coreandvrefbranch.add(gdstk.Reference(nfet_1, (89.54,169.4), x_reflection=True))
bgr_coreandvrefbranch.add(gdstk.Reference(nfet, (87.88,169.4), x_reflection=True))
bgr_coreandvrefbranch.add(gdstk.Reference(guard_ring_gen_4, (67.01,181.885)))
bgr_coreandvrefbranch.add(gdstk.Reference(pfet_3, (89.22,183.815)))
bgr_coreandvrefbranch.add(gdstk.Reference(nfet_1, (89.54,173.855)))
bgr_coreandvrefbranch.add(gdstk.Reference(nfet, (87.88,173.855)))
bgr_coreandvrefbranch.add(gdstk.Reference(pfet_3, (89.22,195.67), x_reflection=True))
bgr_coreandvrefbranch.add(gdstk.Reference(pfet_3, (86.56,195.67), x_reflection=True))
bgr_coreandvrefbranch.add(gdstk.Reference(pfet_3, (86.56,183.815)))
bgr_coreandvrefbranch.add(gdstk.Reference(pfet, (105.345,164.465), rotation=pi))
bgr_coreandvrefbranch.add(gdstk.Reference(pfet, (107.005,183.26), rotation=pi, x_reflection=True))
bgr_coreandvrefbranch.add(gdstk.Reference(res_poly, (113.56,192.98)))
bgr_coreandvrefbranch.add(gdstk.Reference(pfet, (110.325,183.26), rotation=pi, x_reflection=True))
bgr_coreandvrefbranch.add(gdstk.Reference(pfet, (108.665,164.465), rotation=pi))
bgr_coreandvrefbranch.add(gdstk.Reference(res_poly_1, (106.49,177.01)))
bgr_coreandvrefbranch.add(gdstk.Reference(res_poly_1, (103.15,169.76)))
bgr_coreandvrefbranch.add(gdstk.Reference(res_poly_1, (109.83,169.76)))
bgr_coreandvrefbranch.add(gdstk.Reference(res_poly_1, (106.49,169.76)))
bgr_coreandvrefbranch.add(gdstk.Reference(pfet, (108.665,183.26), rotation=pi, x_reflection=True))
bgr_coreandvrefbranch.add(gdstk.Reference(res_poly_1, (109.83,177.01)))
bgr_coreandvrefbranch.add(gdstk.Reference(pfet, (110.325,164.465), rotation=pi))
bgr_coreandvrefbranch.add(gdstk.Reference(nfet_1, (91.2,169.4), x_reflection=True))
bgr_coreandvrefbranch.add(gdstk.Reference(nfet_1, (94.52,169.4), x_reflection=True))
bgr_coreandvrefbranch.add(gdstk.Reference(nfet, (92.86,169.4), x_reflection=True))
bgr_coreandvrefbranch.add(gdstk.Reference(pfet, (110.325,196.795), rotation=pi))
bgr_coreandvrefbranch.add(gdstk.Reference(pfet, (111.985,164.465), rotation=pi))
bgr_coreandvrefbranch.add(gdstk.Reference(nfet_1, (91.2,173.855)))
bgr_coreandvrefbranch.add(gdstk.Reference(nfet_1, (94.52,173.855)))
bgr_coreandvrefbranch.add(gdstk.Reference(nfet, (92.86,173.855)))
bgr_coreandvrefbranch.add(gdstk.Reference(pfet, (108.665,196.795), rotation=pi))
bgr_coreandvrefbranch.add(gdstk.Reference(pfet, (107.005,196.795), rotation=pi))
bgr_coreandvrefbranch.add(gdstk.Reference(guard_ring_gen_7, (102.295,182.455)))
bgr_coreandvrefbranch.add(gdstk.Reference(pfet, (105.345,196.795), rotation=pi))
bgr_coreandvrefbranch.add(gdstk.Reference(pfet, (107.005,164.465), rotation=pi))
bgr_coreandvrefbranch.add(gdstk.Reference(res_poly_1, (103.15,177.01)))
bgr_coreandvrefbranch.add(gdstk.Reference(pfet, (105.345,183.26), rotation=pi, x_reflection=True))
bgr_coreandvrefbranch.add(gdstk.Reference(pfet_3, (91.88,195.67), x_reflection=True))
bgr_coreandvrefbranch.add(gdstk.Reference(pfet_3, (91.88,183.815)))
bgr_coreandvrefbranch.add(gdstk.Reference(nfet_1, (66.3,169.4), x_reflection=True))
bgr_coreandvrefbranch.add(gdstk.Reference(nfet, (67.96,169.4), x_reflection=True))
bgr_coreandvrefbranch.add(gdstk.Reference(res_poly_12, (81.69,160.54), rotation=pi/2))
bgr_coreandvrefbranch.add(gdstk.Reference(nfet, (86.22,169.4), x_reflection=True))
bgr_coreandvrefbranch.add(gdstk.Reference(nfet_1, (84.56,169.4), x_reflection=True))
bgr_coreandvrefbranch.add(gdstk.Reference(nfet_1, (82.9,169.4), x_reflection=True))
bgr_coreandvrefbranch.add(gdstk.Reference(pfet_3, (70.6,195.67), x_reflection=True))
bgr_coreandvrefbranch.add(gdstk.Reference(pfet_3, (67.94,183.815)))
bgr_coreandvrefbranch.add(gdstk.Reference(pfet_3, (70.6,183.815)))
bgr_coreandvrefbranch.add(gdstk.Reference(pfet_3, (73.26,183.815)))
bgr_coreandvrefbranch.add(gdstk.Reference(pfet_3, (75.92,183.815)))
bgr_coreandvrefbranch.add(gdstk.Reference(pfet_3, (78.58,183.815)))
bgr_coreandvrefbranch.add(gdstk.Reference(pfet_3, (81.24,183.815)))
bgr_coreandvrefbranch.add(gdstk.Reference(pfet_3, (83.9,183.815)))
bgr_coreandvrefbranch.add(gdstk.Reference(pfet_3, (83.9,195.67), x_reflection=True))
bgr_coreandvrefbranch.add(gdstk.Reference(pfet_3, (81.24,195.67), x_reflection=True))
bgr_coreandvrefbranch.add(gdstk.Reference(nfet, (81.24,169.4), x_reflection=True))
bgr_coreandvrefbranch.add(gdstk.Reference(nfet, (79.58,169.4), x_reflection=True))
bgr_coreandvrefbranch.add(gdstk.Reference(nfet_1, (77.92,169.4), x_reflection=True))
bgr_coreandvrefbranch.add(gdstk.Reference(nfet_1, (76.26,169.4), x_reflection=True))
bgr_coreandvrefbranch.add(gdstk.Reference(pfet_3, (78.58,195.67), x_reflection=True))
bgr_coreandvrefbranch.add(gdstk.Reference(nfet, (86.22,173.855)))
bgr_coreandvrefbranch.add(gdstk.Reference(nfet_1, (84.56,173.855)))
bgr_coreandvrefbranch.add(gdstk.Reference(nfet_1, (82.9,173.855)))
bgr_coreandvrefbranch.add(gdstk.Reference(nfet, (81.24,173.855)))
bgr_coreandvrefbranch.add(gdstk.Reference(nfet, (79.58,173.855)))
bgr_coreandvrefbranch.add(gdstk.Reference(nfet_1, (77.92,173.855)))
bgr_coreandvrefbranch.add(gdstk.Reference(nfet_1, (76.26,173.855)))
bgr_coreandvrefbranch.add(gdstk.Reference(nfet, (74.6,173.855)))
bgr_coreandvrefbranch.add(gdstk.Reference(nfet, (74.6,169.4), x_reflection=True))
bgr_coreandvrefbranch.add(gdstk.Reference(nfet, (72.94,173.855)))
bgr_coreandvrefbranch.add(gdstk.Reference(nfet_1, (71.28,173.855)))
bgr_coreandvrefbranch.add(gdstk.Reference(pfet_3, (67.94,195.67), x_reflection=True))
bgr_coreandvrefbranch.add(gdstk.Reference(nfet, (72.94,169.4), x_reflection=True))
bgr_coreandvrefbranch.add(gdstk.Reference(pfet_3, (75.92,195.67), x_reflection=True))
bgr_coreandvrefbranch.add(gdstk.Reference(pfet_3, (73.26,195.67), x_reflection=True))
bgr_coreandvrefbranch.add(gdstk.Reference(nfet_1, (71.28,169.4), x_reflection=True))
bgr_coreandvrefbranch.add(gdstk.Reference(nfet_1, (69.62,169.4), x_reflection=True))
bgr_coreandvrefbranch.add(gdstk.Reference(nfet_1, (69.62,173.855)))
bgr_coreandvrefbranch.add(gdstk.Reference(nfet, (67.96,173.855)))
bgr_coreandvrefbranch.add(gdstk.Reference(nfet_1, (66.3,173.855)))
bgr_coreandvrefbranch.add(gdstk.Reference(pnp_bjt, (64.02,125.625)))
bgr_coreandvrefbranch.add(gdstk.Reference(pnp_bjt, (78.22,125.625)))
bgr_coreandvrefbranch.add(gdstk.Reference(pnp_bjt, (78.22,132.725)))
bgr_coreandvrefbranch.add(gdstk.Reference(pnp_bjt, (78.22,118.525)))
bgr_coreandvrefbranch.add(gdstk.Reference(pnp_bjt, (71.12,139.825)))
bgr_coreandvrefbranch.add(gdstk.Reference(pnp_bjt, (64.02,146.925)))
bgr_coreandvrefbranch.add(gdstk.Reference(pnp_bjt, (64.02,132.725)))
bgr_coreandvrefbranch.add(gdstk.Reference(pnp_bjt, (78.22,139.825)))
bgr_coreandvrefbranch.add(gdstk.Reference(pnp_bjt, (71.12,118.525)))
bgr_coreandvrefbranch.add(gdstk.Reference(pnp_bjt, (64.02,118.525)))
bgr_coreandvrefbranch.add(gdstk.Reference(pnp_bjt, (64.02,139.825)))
bgr_coreandvrefbranch.add(gdstk.Reference(pnp_bjt, (71.12,146.925)))
bgr_coreandvrefbranch.add(gdstk.Reference(pnp_bjt, (71.12,125.625)))
bgr_coreandvrefbranch.add(gdstk.Reference(pnp_bjt, (78.22,146.925)))
bgr_coreandvrefbranch.add(gdstk.Reference(pnp_bjt, (71.12,132.725)))
bgr_coreandvrefbranch.add(gdstk.Reference(res_poly_2, (115.22,148.6)))
bgr_coreandvrefbranch.add(gdstk.Reference(pfet, (105.345,147.46), rotation=pi))
bgr_coreandvrefbranch.add(gdstk.Reference(pfet, (107.005,133.925), rotation=pi, x_reflection=True))
bgr_coreandvrefbranch.add(gdstk.Reference(pfet, (108.665,147.46), rotation=pi))
bgr_coreandvrefbranch.add(gdstk.Reference(pnp_bjt, (92.42,139.825)))
bgr_coreandvrefbranch.add(gdstk.Reference(pfet, (113.645,130.435), rotation=pi))
bgr_coreandvrefbranch.add(gdstk.Reference(pnp_bjt, (92.42,146.925)))
bgr_coreandvrefbranch.add(gdstk.Reference(pfet, (107.005,130.435), rotation=pi))
bgr_coreandvrefbranch.add(gdstk.Reference(pfet, (105.345,130.435), rotation=pi))
bgr_coreandvrefbranch.add(gdstk.Reference(pnp_bjt, (92.42,125.625)))
bgr_coreandvrefbranch.add(gdstk.Reference(pnp_bjt, (92.42,132.725)))
bgr_coreandvrefbranch.add(gdstk.Reference(pfet, (110.325,147.46), rotation=pi))
bgr_coreandvrefbranch.add(gdstk.Reference(pfet, (111.985,116.9), rotation=pi, x_reflection=True))
bgr_coreandvrefbranch.add(gdstk.Reference(pfet, (108.665,130.435), rotation=pi))
bgr_coreandvrefbranch.add(gdstk.Reference(pfet, (110.325,130.435), rotation=pi))
bgr_coreandvrefbranch.add(gdstk.Reference(pfet, (105.345,116.9), rotation=pi, x_reflection=True))
bgr_coreandvrefbranch.add(gdstk.Reference(pfet, (113.645,116.9), rotation=pi, x_reflection=True))
bgr_coreandvrefbranch.add(gdstk.Reference(pnp_bjt, (92.42,118.525)))
bgr_coreandvrefbranch.add(gdstk.Reference(pfet, (110.325,116.9), rotation=pi, x_reflection=True))
bgr_coreandvrefbranch.add(gdstk.Reference(pfet, (111.985,133.925), rotation=pi, x_reflection=True))
bgr_coreandvrefbranch.add(gdstk.Reference(pfet, (107.005,116.9), rotation=pi, x_reflection=True))
bgr_coreandvrefbranch.add(gdstk.Reference(pfet, (108.665,116.9), rotation=pi, x_reflection=True))
bgr_coreandvrefbranch.add(gdstk.Reference(pfet, (111.985,130.435), rotation=pi))
bgr_coreandvrefbranch.add(gdstk.Reference(res_poly_2, (115.22,140.25)))
bgr_coreandvrefbranch.add(gdstk.Reference(pfet, (111.985,147.46), rotation=pi))
bgr_coreandvrefbranch.add(gdstk.Reference(pfet, (105.345,133.925), rotation=pi, x_reflection=True))
bgr_coreandvrefbranch.add(gdstk.Reference(pfet, (110.325,133.925), rotation=pi, x_reflection=True))
bgr_coreandvrefbranch.add(gdstk.Reference(pfet, (108.665,133.925), rotation=pi, x_reflection=True))
bgr_coreandvrefbranch.add(gdstk.Reference(pfet, (107.005,147.46), rotation=pi))
bgr_coreandvrefbranch.add(gdstk.Reference(guard_ring_gen_6, (102.295,116.095)))
bgr_coreandvrefbranch.add(gdstk.Reference(guard_ring_gen_5, (102.295,133.12)))

lib.write_gds('BGR_coreAndVrefBranch.gds')
